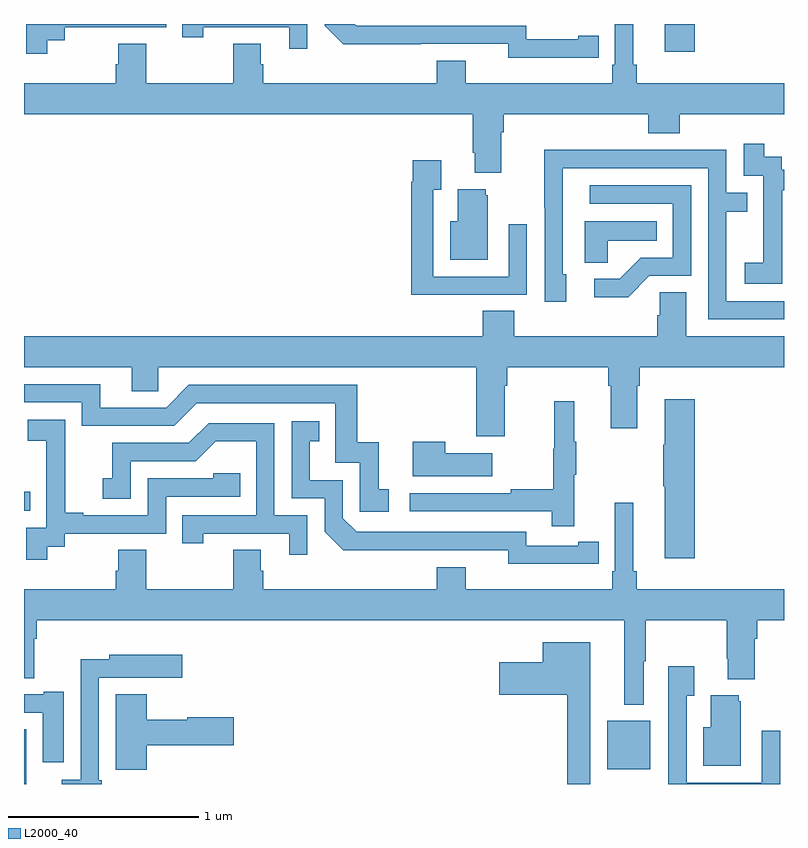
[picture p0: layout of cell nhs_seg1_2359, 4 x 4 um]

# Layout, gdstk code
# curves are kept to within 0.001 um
import gdstk
lib = gdstk.Library(unit=1e-6, precision=1e-09)
def R(c, l, rs):  # rectangles x0, y0, x1, y1
    for r in rs: c.add(gdstk.rectangle(r[:2], r[2:], *l))
def P(c, l, *ps):  # polygons
    for p in ps: c.add(gdstk.Polygon(p, *l))
L2000_40 = (2000, 40)

nhs_seg1_2359 = lib.new_cell('nhs_seg1_2359')
R(nhs_seg1_2359, L2000_40, [(239,556.199,239.011,556.486), (242.069,556.277,242.296,556.531), (239,557.637,239.033,557.738), (242.372,560.052,242.531,560.199)])
P(nhs_seg1_2359, L2000_40, [(240.492,560.199),(239.833,560.199),(239.833,560.13),(239.944,560.13),(239.944,560.181),(240.395,560.181),(240.395,560.07),(240.492,560.07)],
  [(239.122,560.113),(239.214,560.113),(239.214,560.181),(239.748,560.181),(239.748,560.199),(239.013,560.199),(239.013,560.043),(239.122,560.043)],
  [(241.513,559.628),(241.526,559.628),(241.526,559.724),(242.285,559.724),(242.285,559.625),(242.45,559.625),(242.45,559.724),(243,559.724),(243,559.888),(242.225,559.888),(242.225,559.984),(242.206,559.984),(242.206,560.199),(242.109,560.199),(242.109,559.984),(242.096,559.984),(242.096,559.888),(241.324,559.888),(241.324,560.005),(241.172,560.005),(241.172,559.888),(240.26,559.888),(240.26,559.986),(240.247,559.986),(240.247,560.096),(240.1,560.096),(240.1,559.888),(239.643,559.888),(239.643,560.096),(239.495,560.096),(239.495,559.986),(239.483,559.986),(239.483,559.888),(239,559.888),(239,559.724),(241.361,559.724),(241.361,559.522),(241.373,559.522),(241.373,559.415),(241.513,559.415)],
  [(241.916,560.022),(242.024,560.022),(242.024,560.138),(241.916,560.138),(241.916,560.118),(241.644,560.118),(241.644,560.19),(240.75,560.19),(240.741,560.199),(240.582,560.199),(240.582,560.19),(240.68,560.093),(241.548,560.094),(241.548,560.021)],
  [(242.991,559.039),(242.99,559.039),(242.99,559.323),(243,559.323),(243,559.431),(242.988,559.431),(242.988,559.5),(242.896,559.5),(242.896,559.57),(242.787,559.57),(242.787,559.401),(242.892,559.401),(242.892,559.172),(242.891,559.172),(242.891,558.943),(242.793,558.943),(242.793,558.833),(242.991,558.833)],
  [(243,558.741),(242.697,558.741),(242.697,559.21),(242.807,559.21),(242.807,559.311),(242.697,559.311),(242.697,559.536),(242.201,559.536),(242.201,559.538),(241.738,559.538),(241.738,559.231),(241.74,559.231),(241.74,558.738),(241.855,558.738),(241.855,558.882),(241.836,558.882),(241.836,559.44),(242.601,559.44),(242.601,558.645),(243,558.645)],
  [(241.331,558.774),(241.647,558.774),(241.647,559.144),(241.551,559.144),(241.551,558.87),(241.155,558.87),(241.155,559.327),(241.195,559.327),(241.195,559.483),(241.047,559.483),(241.047,559.37),(241.039,559.37),(241.039,558.773),(241.331,558.773)],
  [(242.292,558.873),(242.511,558.873),(242.511,559.35),(241.977,559.35),(241.977,559.254),(242.415,559.254),(242.415,558.969),(242.246,558.969),(242.135,558.858),(242.001,558.858),(242.001,558.761),(242.179,558.761)],
  [(241.441,559.299),(241.43,559.299),(241.43,559.33),(241.283,559.33),(241.283,559.162),(241.244,559.162),(241.244,558.959),(241.441,558.959)],
  [(242.073,559.058),(242.33,559.058),(242.33,559.162),(241.952,559.162),(241.952,558.943),(242.073,558.943)],
  [(241.531,558.296),(241.544,558.296),(241.544,558.392),(242.075,558.392),(242.075,558.296),(242.087,558.296),(242.087,558.072),(242.227,558.072),(242.227,558.296),(242.24,558.296),(242.24,558.392),(243,558.392),(243,558.556),(242.485,558.556),(242.485,558.788),(242.346,558.788),(242.346,558.665),(242.333,558.665),(242.333,558.556),(241.58,558.556),(241.58,558.689),(241.415,558.689),(241.415,558.556),(239,558.556),(239,558.392),(239.567,558.392),(239.567,558.265),(239.706,558.265),(239.706,558.392),(241.379,558.392),(241.379,558.03),(241.531,558.03)],
  [(240.919,557.751),(240.866,557.751),(240.866,557.998),(240.755,557.998),(240.755,558.3),(239.868,558.3),(239.748,558.18),(239.401,558.18),(239.401,558.303),(239,558.303),(239,558.207),(239.304,558.207),(239.304,558.084),(239.79,558.084),(239.91,558.204),(240.639,558.204),(240.639,557.889),(240.768,557.889),(240.768,557.631),(240.919,557.631)],
  [(242.531,558.223),(242.372,558.223),(242.372,557.984),(242.365,557.984),(242.365,557.767),(242.372,557.767),(242.372,557.388),(242.531,557.388)],
  [(241.895,557.827),(241.906,557.827),(241.906,558.001),(241.895,558.001),(241.895,558.214),(241.792,558.214),(241.792,557.964),(241.785,557.964),(241.785,557.75),(241.561,557.75),(241.561,557.73),(241.029,557.73),(241.029,557.634),(241.777,557.634),(241.777,557.556),(241.895,557.556)],
  [(239.122,557.449),(239.214,557.449),(239.214,557.517),(239.748,557.517),(239.748,557.712),(240.137,557.712),(240.137,557.835),(239.997,557.835),(239.997,557.808),(239.652,557.808),(239.652,557.613),(239.311,557.613),(239.311,557.626),(239.216,557.626),(239.216,557.909),(239.217,557.909),(239.217,558.115),(239.019,558.115),(239.019,558.005),(239.117,558.005),(239.117,557.777),(239.118,557.777),(239.118,557.547),(239.013,557.547),(239.013,557.379),(239.122,557.379)],
  [(241.916,557.358),(242.024,557.358),(242.024,557.474),(241.916,557.474),(241.916,557.454),(241.644,557.454),(241.644,557.526),(240.75,557.526),(240.678,557.598),(240.678,557.799),(240.505,557.799),(240.505,558.003),(240.554,558.003),(240.554,558.109),(240.408,558.109),(240.408,557.703),(240.582,557.703),(240.582,557.526),(240.68,557.429),(241.548,557.43),(241.548,557.357)],
  [(240.492,557.613),(240.318,557.613),(240.318,558.099),(239.972,558.099),(239.867,557.994),(239.464,557.994),(239.464,557.809),(239.415,557.809),(239.415,557.7),(239.562,557.7),(239.562,557.898),(239.904,557.898),(240.008,558.002),(240.222,558.002),(240.222,557.613),(239.833,557.613),(239.833,557.466),(239.944,557.466),(239.944,557.517),(240.395,557.517),(240.395,557.406),(240.492,557.406)],
  [(241.465,557.941),(241.217,557.941),(241.217,558.001),(241.046,558.001),(241.046,557.819),(241.465,557.819)],
  [(242.263,556.844),(242.273,556.844),(242.273,557.06),(242.698,557.06),(242.698,556.858),(242.705,556.858),(242.705,556.751),(242.845,556.751),(242.845,556.964),(242.858,556.964),(242.858,557.06),(243,557.06),(243,557.224),(242.225,557.224),(242.225,557.32),(242.206,557.32),(242.206,557.68),(242.109,557.68),(242.109,557.32),(242.096,557.32),(242.096,557.224),(241.324,557.224),(241.324,557.341),(241.172,557.341),(241.172,557.224),(240.26,557.224),(240.26,557.322),(240.247,557.322),(240.247,557.432),(240.1,557.432),(240.1,557.224),(239.643,557.224),(239.643,557.432),(239.495,557.432),(239.495,557.322),(239.483,557.322),(239.483,557.224),(239,557.224),(239,556.756),(239.053,556.756),(239.053,556.964),(239.066,556.964),(239.066,557.06),(242.159,557.06),(242.159,556.616),(242.263,556.616)],
  [(241.981,556.945),(241.73,556.945),(241.73,556.84),(241.5,556.84),(241.5,556.67),(241.86,556.67),(241.86,556.199),(241.981,556.199)],
  [(239.41,556.218),(239.394,556.218),(239.394,556.758),(239.606,556.758),(239.606,556.757),(239.833,556.757),(239.833,556.879),(239.448,556.879),(239.448,556.856),(239.298,556.856),(239.298,556.222),(239.198,556.222),(239.198,556.199),(239.41,556.199)],
  [(242.979,556.48),(242.883,556.48),(242.883,556.206),(242.487,556.206),(242.487,556.663),(242.527,556.663),(242.527,556.819),(242.391,556.819),(242.391,556.199),(242.979,556.199)],
  [(239.209,556.684),(239.105,556.684),(239.105,556.671),(239,556.671),(239,556.575),(239.099,556.575),(239.099,556.314),(239.209,556.314)],
  [(239.645,556.403),(240.103,556.403),(240.103,556.55),(239.859,556.55),(239.859,556.537),(239.645,556.537),(239.645,556.672),(239.483,556.672),(239.483,556.275),(239.645,556.275)],
  [(242.773,556.635),(242.762,556.635),(242.762,556.666),(242.615,556.666),(242.615,556.498),(242.576,556.498),(242.576,556.295),(242.773,556.295)])

lib.write_gds('nhs_seg1_2359.gds')
